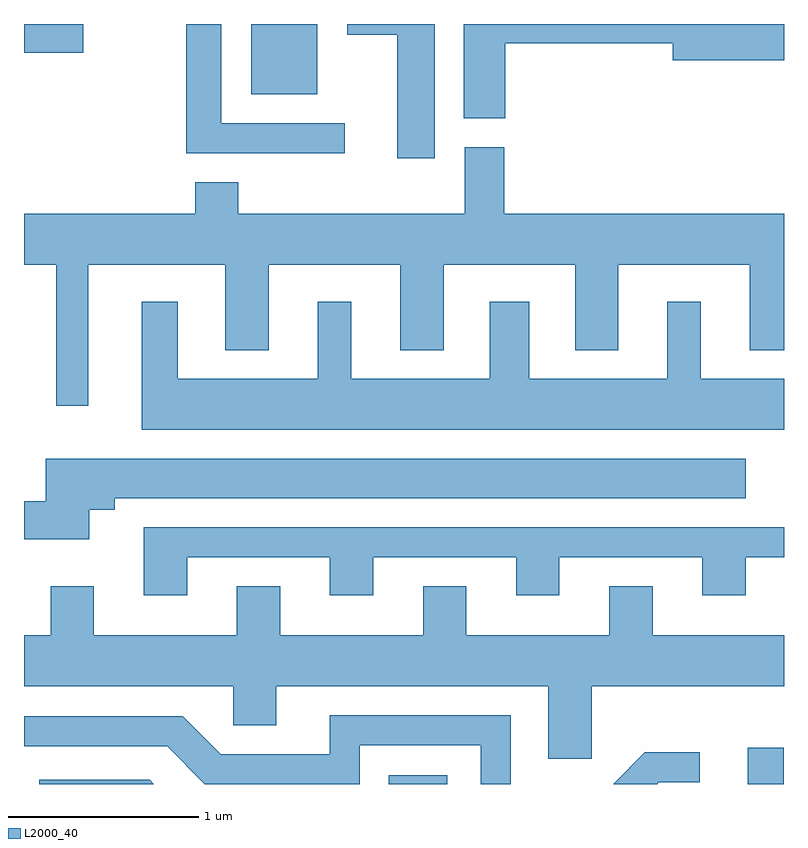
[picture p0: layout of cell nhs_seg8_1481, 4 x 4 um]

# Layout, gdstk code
import gdstk
lib = gdstk.Library(unit=1e-6, precision=1e-09)
def R(c, l, rs):  # rectangles x0, y0, x1, y1
    for r in rs: c.add(gdstk.rectangle(r[:2], r[2:], *l))
def P(c, l, *ps):  # polygons
    for p in ps: c.add(gdstk.Polygon(p, *l))
L2000_40 = (2000, 40)

nhs_seg8_1481 = lib.new_cell('nhs_seg8_1481')
R(nhs_seg8_1481, L2000_40, [(231.531,1840.342,231.839,1840.389), (233.421,1840.342,233.609,1840.534), (230.806,1843.971,231.154,1844.342), (229.611,1844.191,229.924,1844.342)])
P(nhs_seg8_1481, L2000_40, [(231.298,1843.819),(230.649,1843.819),(230.649,1844.342),(230.466,1844.342),(230.466,1843.661),(231.298,1843.661)],
  [(232.144,1844.241),(233.026,1844.241),(233.026,1844.151),(233.611,1844.151),(233.611,1844.342),(231.926,1844.342),(231.926,1843.846),(232.144,1843.846)],
  [(231.774,1844.342),(231.311,1844.342),(231.311,1844.286),(231.576,1844.286),(231.576,1843.636),(231.774,1843.636)],
  [(230.739,1843.509),(230.511,1843.509),(230.511,1843.344),(229.611,1843.344),(229.611,1843.076),(229.781,1843.076),(229.781,1842.333),(229.949,1842.333),(229.949,1843.076),(230.671,1843.076),(230.671,1842.626),(230.899,1842.626),(230.899,1843.076),(231.591,1843.076),(231.591,1842.626),(231.819,1842.626),(231.819,1843.076),(232.511,1843.076),(232.511,1842.626),(232.739,1842.626),(232.739,1843.076),(233.431,1843.076),(233.431,1842.626),(233.611,1842.626),(233.611,1843.344),(232.139,1843.344),(232.139,1843.694),(231.931,1843.694),(231.931,1843.344),(230.739,1843.344)],
  [(233.611,1842.474),(233.174,1842.474),(233.174,1842.879),(232.996,1842.879),(232.996,1842.474),(232.269,1842.474),(232.269,1842.879),(232.061,1842.879),(232.061,1842.474),(231.334,1842.474),(231.334,1842.879),(231.156,1842.879),(231.156,1842.474),(230.419,1842.474),(230.419,1842.879),(230.231,1842.879),(230.231,1842.206),(233.611,1842.206)],
  [(229.954,1841.786),(230.089,1841.786),(230.089,1841.846),(233.409,1841.846),(233.409,1842.054),(229.726,1842.054),(229.726,1841.829),(229.611,1841.829),(229.611,1841.631),(229.954,1841.631)],
  [(230.469,1841.536),(231.221,1841.536),(231.221,1841.336),(231.449,1841.336),(231.449,1841.536),(232.201,1841.536),(232.201,1841.336),(232.429,1841.336),(232.429,1841.536),(233.181,1841.536),(233.181,1841.336),(233.409,1841.336),(233.409,1841.536),(233.611,1841.536),(233.611,1841.694),(230.241,1841.694),(230.241,1841.336),(230.469,1841.336)],
  [(232.599,1840.856),(233.611,1840.856),(233.611,1841.124),(232.919,1841.124),(232.919,1841.384),(232.691,1841.384),(232.691,1841.124),(231.939,1841.124),(231.939,1841.384),(231.711,1841.384),(231.711,1841.124),(230.959,1841.124),(230.959,1841.384),(230.731,1841.384),(230.731,1841.124),(229.979,1841.124),(229.979,1841.384),(229.751,1841.384),(229.751,1841.124),(229.611,1841.124),(229.611,1840.856),(230.711,1840.856),(230.711,1840.651),(230.939,1840.651),(230.939,1840.856),(232.371,1840.856),(232.371,1840.476),(232.599,1840.476)],
  [(231.379,1840.546),(232.016,1840.546),(232.016,1840.342),(232.174,1840.342),(232.174,1840.704),(231.221,1840.704),(231.221,1840.499),(230.647,1840.499),(230.447,1840.699),(229.611,1840.699),(229.611,1840.541),(230.364,1840.541),(230.563,1840.342),(231.379,1840.342)],
  [(232.952,1840.351),(233.168,1840.351),(233.168,1840.509),(232.879,1840.509),(232.712,1840.342),(232.943,1840.342)],
  [(230.272,1840.364),(229.691,1840.364),(229.691,1840.342),(230.294,1840.342)])

lib.write_gds('nhs_seg8_1481.gds')
